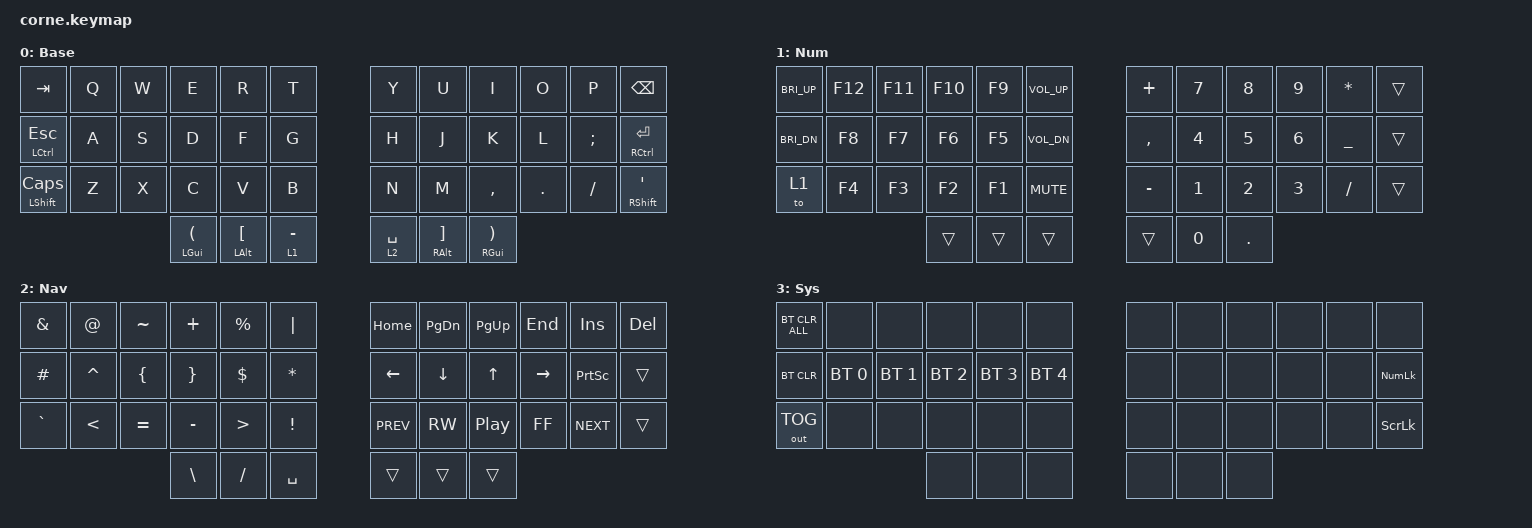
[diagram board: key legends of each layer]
/*
 * Copyright (c) 2020 The ZMK Contributors
 *
 * SPDX-License-Identifier: MIT
 */

#include <behaviors.dtsi>
#include <dt-bindings/zmk/bt.h>
#include <dt-bindings/zmk/keys.h>
#include <dt-bindings/zmk/outputs.h>

/ {
    combos {
        compatible = "zmk,combos";

        combo_esc {
            bindings = <&kp ESCAPE>;
            key-positions = <19 20>;
        };

        combo_ret {
            bindings = <&kp RET>;
            key-positions = <16 15>;
        };

        combo_bksp {
            bindings = <&kp BACKSPACE>;
            key-positions = <0 1>;
        };
    };

    behaviors {
        sys_td: sys_td {
            compatible = "zmk,behavior-tap-dance";
            label = "SYS_TD";
            #binding-cells = <0>;
            bindings = <&kp LSHIFT>, <&kp CAPS>, <&sl 3>;
        };
    };

    keymap {
        compatible = "zmk,keymap";

        layer_qwerty {
            // -----------------------------------------------------------------------------------------
            // |  TAB |  Q  |  W  |  E  |  R  |  T  |   |  Y  |  U   |  I  |  O  |  P  | BKSP |
            // | CTRL |  A  |  S  |  D  |  F  |  G  |   |  H  |  J   |  K  |  L  |  ;  |  '   |
            // | SHFT |  Z  |  X  |  C  |  V  |  B  |   |  N  |  M   |  ,  |  .  |  /  | ESC  |
            //                    | GUI | LWR | SPC |   | ENT | RSE  | ALT |

            display-name = "Base";
            bindings = <
&kp TAB           &kp Q  &kp W  &kp E          &kp R          &kp T          &kp Y        &kp U          &kp I          &kp O    &kp P     &kp BSPC
&mt LCTRL ESCAPE  &kp A  &kp S  &kp D          &kp F          &kp G          &kp H        &kp J          &kp K          &kp L    &kp SEMI  &mt RCTRL RET
&mt LSHIFT CAPS   &kp Z  &kp X  &kp C          &kp V          &kp B          &kp N        &kp M          &kp COMMA      &kp DOT  &kp FSLH  &mt RSHIFT APOS
                                &mt LGUI LPAR  &mt LALT LBKT  &lt 1 MINUS    &lt 2 SPACE  &mt RALT RBKT  &mt RGUI RPAR
            >;
        };

        layer_numpad {
            display-name = "Num";
            bindings = <
&kp C_BRI_UP  &kp F12  &kp F11  &kp F10  &kp F9  &kp C_VOL_UP    &kp PLUS   &kp N7  &kp N8   &kp N9  &kp STAR   &trans
&kp C_BRI_DN  &kp F8   &kp F7   &kp F6   &kp F5  &kp C_VOL_DN    &kp COMMA  &kp N4  &kp N5   &kp N6  &kp UNDER  &trans
&to 1         &kp F4   &kp F3   &kp F2   &kp F1  &kp K_MUTE      &kp MINUS  &kp N1  &kp N2   &kp N3  &kp FSLH   &trans
                                &trans   &trans  &trans          &trans     &kp N0  &kp DOT
            >;
        };

        layer_navigation {
            display-name = "Nav";
            bindings = <
&kp AMPS   &kp AT     &kp TILDE  &kp PLUS   &kp PRCNT  &kp PIPE     &kp HOME    &kp PG_DN  &kp PG_UP         &kp END    &kp INS          &kp DEL
&kp HASH   &kp CARET  &kp LBRC   &kp RBRC   &kp DLLR   &kp STAR     &kp LEFT    &kp DOWN   &kp UP            &kp RIGHT  &kp PRINTSCREEN  &trans
&kp GRAVE  &kp LT     &kp EQUAL  &kp MINUS  &kp GT     &kp EXCL     &kp C_PREV  &kp C_RW   &kp C_PLAY_PAUSE  &kp C_FF   &kp C_NEXT       &trans
                                 &kp BSLH   &kp FSLH   &kp SPACE    &trans      &trans     &trans
            >;
        };

        layer_system {
            // -----------------------------------------------------------------------------------------
            // |  TAB |  1  |  2  |  3  |  4  |  5  |   |  6  |  7  |  8  |  9  |  0  | BKSP |
            // | BTCLR| BT1 | BT2 | BT3 | BT4 | BT5 |   | LFT | DWN |  UP | RGT |     |      |
            // | SHFT |     |     |     |     |     |   |     |     |     |     |     |      |
            //                    | GUI |     | SPC |   | ENT |     | ALT |

            display-name = "Sys";
            bindings = <
&bt BT_CLR_ALL  &none         &none         &none         &none         &none           &none  &none  &none  &none  &none  &none
&bt BT_CLR      &bt BT_SEL 0  &bt BT_SEL 1  &bt BT_SEL 2  &bt BT_SEL 3  &bt BT_SEL 4    &none  &none  &none  &none  &none  &kp KP_NUMLOCK
&out OUT_TOG    &none         &none         &none         &none         &none           &none  &none  &none  &none  &none  &kp SCROLLLOCK
                                            &none         &none         &none           &none  &none  &none
            >;
        };

        extra_1 { status = "reserved"; };

        extra_2 { status = "reserved"; };

        extra_3 { status = "reserved"; };
    };

    conditional_layers {
        compatible = "zmk,conditional-layers";

        System {
            if-layers = <1 2>;
            then-layer = <3>;
        };
    };
};
